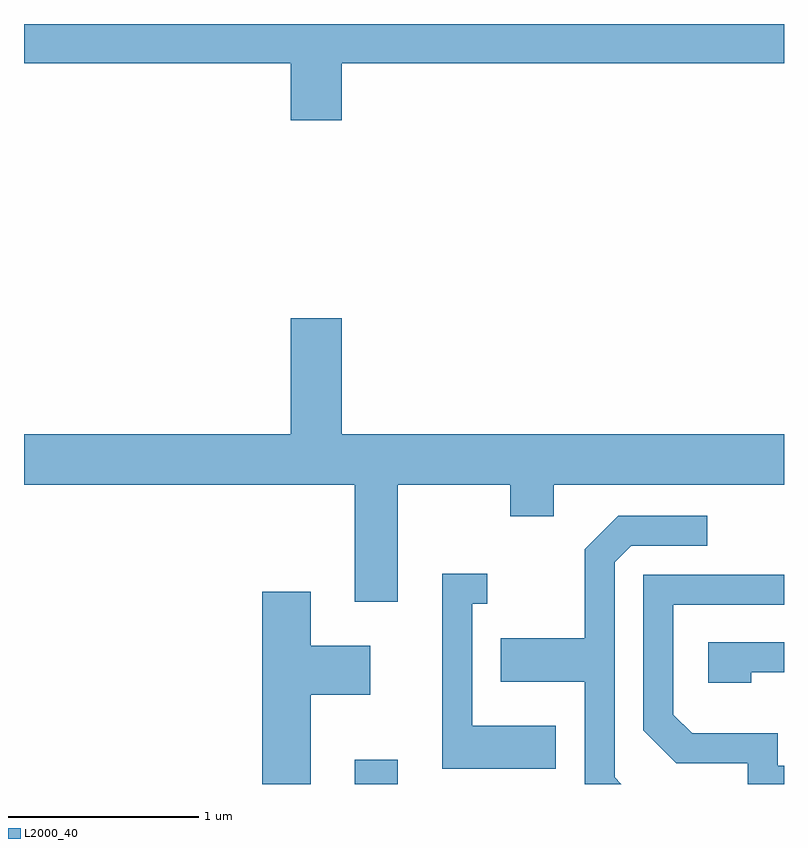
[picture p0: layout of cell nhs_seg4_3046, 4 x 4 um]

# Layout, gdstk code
import gdstk
lib = gdstk.Library(unit=1e-6, precision=1e-09)
def R(c, l, rs):  # rectangles x0, y0, x1, y1
    for r in rs: c.add(gdstk.rectangle(r[:2], r[2:], *l))
def P(c, l, *ps):  # polygons
    for p in ps: c.add(gdstk.Polygon(p, *l))
L2000_40 = (2000, 40)

nhs_seg4_3046 = lib.new_cell('nhs_seg4_3046')
R(nhs_seg4_3046, L2000_40, [(275.351,1361.982,275.579,1362.109)])
P(nhs_seg4_3046, L2000_40, [(275.284,1365.776),(277.611,1365.776),(277.611,1365.982),(273.611,1365.982),(273.611,1365.776),(275.016,1365.776),(275.016,1365.476),(275.284,1365.476)],
  [(275.579,1363.556),(276.171,1363.556),(276.171,1363.391),(276.399,1363.391),(276.399,1363.556),(277.611,1363.556),(277.611,1363.824),(275.284,1363.824),(275.284,1364.434),(275.016,1364.434),(275.016,1363.824),(273.611,1363.824),(273.611,1363.556),(275.351,1363.556),(275.351,1362.941),(275.579,1362.941)],
  [(276.719,1362.017),(276.719,1363.149),(276.807,1363.236),(277.208,1363.236),(277.208,1363.394),(276.739,1363.394),(276.561,1363.217),(276.561,1362.749),(276.121,1362.749),(276.121,1362.521),(276.561,1362.521),(276.561,1361.982),(276.754,1361.982)],
  [(276.409,1362.289),(275.969,1362.289),(275.969,1362.931),(276.048,1362.931),(276.048,1363.089),(275.811,1363.089),(275.811,1362.061),(276.409,1362.061)],
  [(277.611,1362.079),(277.579,1362.079),(277.579,1362.249),(277.127,1362.249),(277.029,1362.347),(277.029,1362.926),(277.611,1362.926),(277.611,1363.084),(276.871,1363.084),(276.871,1362.264),(277.044,1362.091),(277.421,1362.091),(277.421,1361.982),(277.611,1361.982)],
  [(275.119,1362.451),(275.434,1362.451),(275.434,1362.709),(275.119,1362.709),(275.119,1362.994),(274.866,1362.994),(274.866,1361.982),(275.119,1361.982)],
  [(277.439,1362.571),(277.611,1362.571),(277.611,1362.729),(277.211,1362.729),(277.211,1362.516),(277.439,1362.516)])

lib.write_gds('nhs_seg4_3046.gds')
